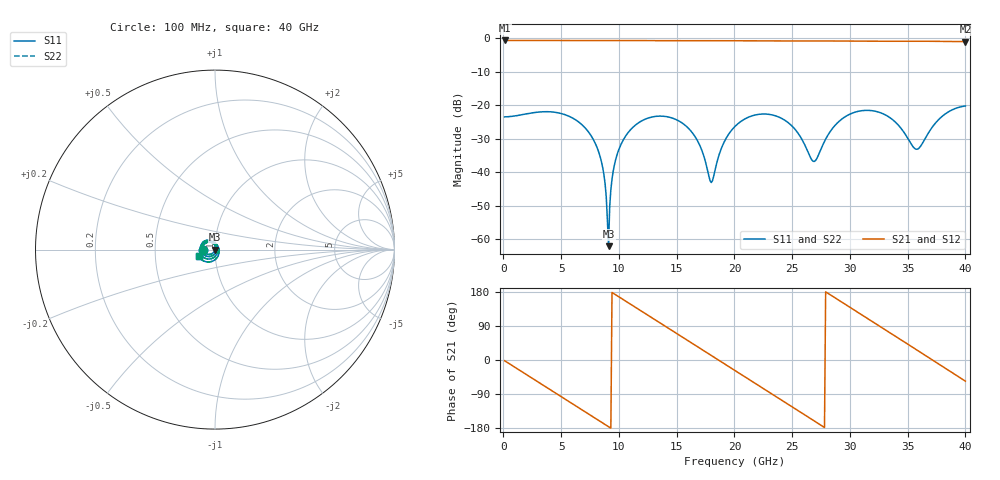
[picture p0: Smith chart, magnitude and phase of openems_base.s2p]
! thru_ts6_L3: 2×thru, L3, 8 mm
! stackup: ThunderScope Rev5.3 6-layer (FR408HR / FR-4, from the board file)
! ports: 1, 2
! openEMS 0.37.0, staircase, base mesh (dfine 0.035 mm), 360192 cells
# Hz S RI R 50
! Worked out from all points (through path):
!   400 points, 100 MHz to 40 GHz, reference 50 ohm
!   highest |S21| = -0.61 dB at 100 MHz (marker M1); lowest = -1.0 dB at 40 GHz (marker M2)
!   group delay of S21, straight-line fit = 53.8 ps
!   lowest |S11| = -62.0 dB at 9.1 GHz (marker M3), VSWR 1.00, Z = 50 - j0.0715 ohm
!   |S11| at or under -10 dB: start of sweep to end of sweep
!   |S22| runs from -62.0 to -20.2 dB; largest |S21 - S12| = 0
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1e8  -0.0674 4.64e-05  0.932 -0.0315  0.932 -0.0315  -0.0674 4.64e-05
3.7e9  -0.0751 0.0291  0.2952 -0.8837  0.2952 -0.8837  -0.0751 0.0291
6.8e9  -0.0201 0.0473  -0.6164 -0.6987  -0.6164 -0.6987  -0.0201 0.0473
8.5e9  0.00196 0.0139  -0.8972 -0.2514  -0.8972 -0.2514  0.00196 0.0139
8.9e9  0.00149 0.00408  -0.9227 -0.128  -0.9227 -0.128  0.00149 0.00408
9.1e9  0.000338 -0.000715  -0.9291 -0.0653  -0.9291 -0.0653  0.000338 -0.000715
9.2e9  -0.000458 -0.00304  -0.9307 -0.0338  -0.9307 -0.0338  -0.000458 -0.00304
9.3e9  -0.0014 -0.00531  -0.9312 -0.00226  -0.9312 -0.00226  -0.0014 -0.00531
1e10  -0.0117 -0.0188  -0.905 0.2161  -0.905 0.2161  -0.0117 -0.0188
1.34e10  -0.0685 0.00919  -0.1746 0.9088  -0.1746 0.9088  -0.0685 0.00919
1.63e10  -0.0142 0.0375  0.6556 0.6533  0.6556 0.6533  -0.0142 0.0375
1.8e10  0.00704 -0.000471  0.9057 0.1908  0.9057 0.1908  0.00704 -0.000471
2.01e10  -0.0305 -0.0389  0.8074 -0.4459  0.8074 -0.4459  -0.0305 -0.0389
2.34e10  -0.066 0.0264  -0.0424 -0.9159  -0.0424 -0.9159  -0.066 0.0264
2.52e10  -0.0175 0.0414  -0.5584 -0.7283  -0.5584 -0.7283  -0.0175 0.0414
2.67e10  0.0134 0.00748  -0.8432 -0.3634  -0.8432 -0.3634  0.0134 0.00748
2.95e10  -0.0404 -0.0524  -0.7797 0.4739  -0.7797 0.4739  -0.0404 -0.0524
3.15e10  -0.0841 -0.00656  -0.3102 0.8528  -0.3102 0.8528  -0.0841 -0.00656
3.34e10  -0.0491 0.0452  0.262 0.8688  0.262 0.8688  -0.0491 0.0452
3.58e10  0.0216 0.00477  0.8147 0.4026  0.8147 0.4026  0.0216 0.00477
3.78e10  -0.0114 -0.0632  0.8806 -0.203  0.8806 -0.203  -0.0114 -0.0632
4e10  -0.0907 -0.0373  0.5035 -0.7407  0.5035 -0.7407  -0.0907 -0.0373
